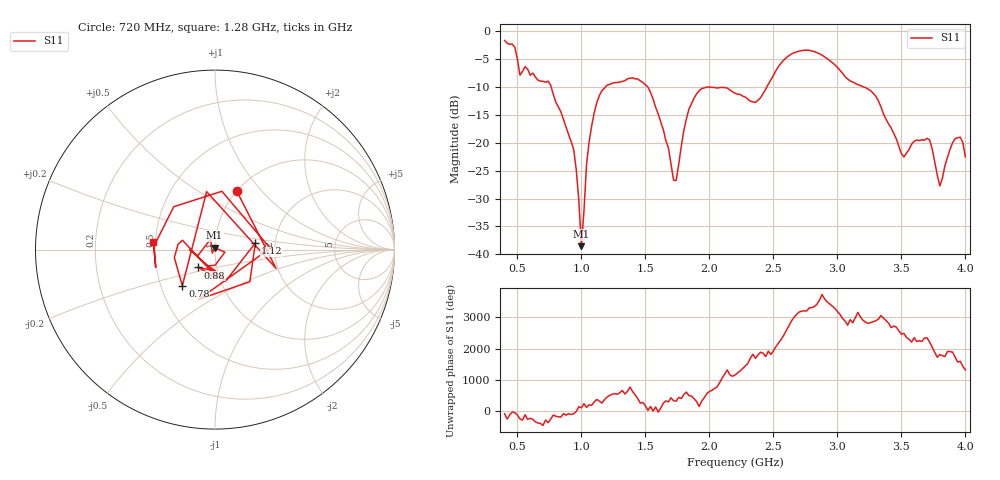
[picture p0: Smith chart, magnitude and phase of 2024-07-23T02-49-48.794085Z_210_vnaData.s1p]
!Created with skrf (http://scikit-rf.org).
# Hz S RI R 50.0
!freq ReS11 ImS11
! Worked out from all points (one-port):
!   181 points, 400 MHz to 4 GHz, reference 50 ohm
!   lowest |S11| = -38.5 dB at 1 GHz (marker M1), VSWR 1.02, Z = 49.8 + j1.16 ohm
!   |S11| at or under -10 dB: 763.4 MHz to 1.189 GHz (425.6 MHz wide, 43.6 % of centre); 1.518 GHz to 2.45 GHz (932 MHz wide, 47 % of centre); 3.202 GHz to end of sweep
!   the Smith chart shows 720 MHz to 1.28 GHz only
!   S11 on the Smith chart (normalised r, x): 720 MHz: 1.00, +0.74; 780 MHz: 0.64, -0.28; 880 MHz: 0.81, -0.16; 1.12 GHz: 1.57, +0.12; 1.28 GHz: 0.49, +0.05
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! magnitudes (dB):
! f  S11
! 400 MHz  -1.7
! 480 MHz  -2.9
! 520 MHz  -7.9
! 720 MHz  -9.2
! 780 MHz  -11.3
! 860 MHz  -15.9
! 880 MHz  -17.3
! 940 MHz  -21.2
! 1 GHz  -38.5
! 1.04 GHz  -23.9
! 1.12 GHz  -12.9
! 1.28 GHz  -9.2
! 1.3 GHz  -9.2
! 1.52 GHz  -10.1
! 1.72 GHz  -26.7
! 1.76 GHz  -23.9
! 1.82 GHz  -15.8
! 1.9 GHz  -11.3
! 2.2 GHz  -11.1
! 2.36 GHz  -12.8
! 2.66 GHz  -3.9
! 3.1 GHz  -8.9
! 3.3 GHz  -11.7
! 3.56 GHz  -21.2
! 3.72 GHz  -19.5
! 3.8 GHz  -27.7
! 3.92 GHz  -19.3
! 4 GHz  -22.5
